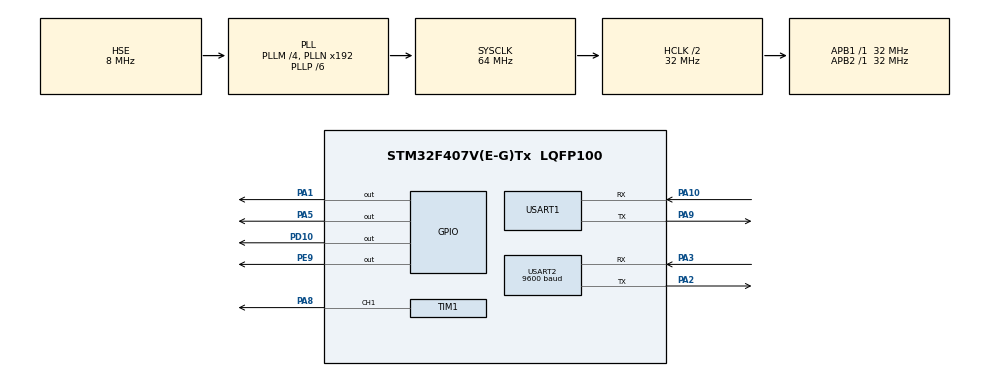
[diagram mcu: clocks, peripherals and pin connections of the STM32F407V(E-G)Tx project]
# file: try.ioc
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Dma.Request0=USART2_RX
Dma.USART2_RX.0.Direction=DMA_PERIPH_TO_MEMORY
Dma.USART2_RX.0.FIFOMode=DMA_FIFOMODE_DISABLE
Dma.USART2_RX.0.Instance=DMA1_Stream5
Dma.USART2_RX.0.MemDataAlignment=DMA_MDATAALIGN_BYTE
Dma.USART2_RX.0.MemInc=DMA_MINC_ENABLE
Dma.USART2_RX.0.Mode=DMA_NORMAL
Dma.USART2_RX.0.PeriphDataAlignment=DMA_PDATAALIGN_BYTE
Dma.USART2_RX.0.PeriphInc=DMA_PINC_DISABLE
Dma.USART2_RX.0.Priority=DMA_PRIORITY_LOW
Mcu.Family=STM32F4
Mcu.Name=STM32F407V(E-G)Tx
Mcu.Package=LQFP100
NVIC.DMA1_Stream5_IRQn=true\:0\:0\:false\:false\:true\:false\:true\:true
NVIC.PriorityGroup=NVIC_PRIORITYGROUP_4
NVIC.TIM2_IRQn=true\:0\:0\:false\:false\:true\:true\:true\:true
NVIC.USART2_IRQn=true\:0\:0\:false\:false\:true\:true\:true\:true
PA1.Signal=GPIO_Output
PA10.Mode=Asynchronous
PA10.Signal=USART1_RX
PA13.Mode=Serial_Wire
PA13.Signal=SYS_JTMS-SWDIO
PA14.Mode=Serial_Wire
PA14.Signal=SYS_JTCK-SWCLK
PA2.Mode=Asynchronous
PA2.Signal=USART2_TX
PA3.Mode=Asynchronous
PA3.Signal=USART2_RX
PA5.Signal=GPIO_Output
PA8.Signal=S_TIM1_CH1
PA9.Mode=Asynchronous
PA9.Signal=USART1_TX
PD10.Signal=GPIO_Output
PE9.Signal=GPIO_Output
PH0-OSC_IN.Mode=HSE-External-Oscillator
PH0-OSC_IN.Signal=RCC_OSC_IN
PH1-OSC_OUT.Mode=HSE-External-Oscillator
PH1-OSC_OUT.Signal=RCC_OSC_OUT
ProjectManager.HeapSize=0x200
ProjectManager.StackSize=0x400
ProjectManager.TargetToolchain=STM32CubeIDE
RCC.48MHZClocksFreq_Value=96000000
RCC.AHBCLKDivider=RCC_SYSCLK_DIV2
RCC.AHBFreq_Value=32000000
RCC.APB1Freq_Value=32000000
RCC.APB1TimFreq_Value=32000000
RCC.APB2Freq_Value=32000000
RCC.APB2TimFreq_Value=32000000
RCC.CortexFreq_Value=32000000
RCC.HCLKFreq_Value=32000000
RCC.HSE_VALUE=8000000
RCC.HSI_VALUE=16000000
RCC.LSE_VALUE=32768
RCC.PLLM=4
RCC.PLLP=RCC_PLLP_DIV6
RCC.PLLSourceVirtual=RCC_PLLSOURCE_HSE
RCC.SYSCLKFreq_VALUE=64000000
RCC.SYSCLKSource=RCC_SYSCLKSOURCE_PLLCLK
RCC.VCOOutputFreq_Value=384000000
SH.S_TIM1_CH1.0=TIM1_CH1,PWM Generation1 CH1
TIM1.Channel-PWM\ Generation1\ CH1=TIM_CHANNEL_1
TIM1.Period=20000-1
TIM1.Prescaler=32-1
TIM2.Period=10-1
TIM2.Prescaler=32-1
USART1.VirtualMode=VM_ASYNC
USART2.BaudRate=9600
USART2.VirtualMode=VM_ASYNC
VP_TIM1_VS_ClockSourceINT.Mode=Internal
VP_TIM2_VS_ClockSourceINT.Mode=Internal
board=custom

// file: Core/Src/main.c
/* USER CODE BEGIN Header */
/**
  ******************************************************************************
  * @file           : main.c
  * @brief          : Main program body
  ******************************************************************************
  * @attention
  *
  * Copyright (c) 2024 STMicroelectronics.
  * All rights reserved.
  *
  * This software is licensed under terms that can be found in the LICENSE file
  * in the root directory of this software component.
  * If no LICENSE file comes with this software, it is provided AS-IS.
  *
  ******************************************************************************
  */
/* USER CODE END Header */
#include "main.h"
#include "dma.h"
#include "tim.h"
#include "usart.h"
#include "gpio.h"
#include "delay.h"

/* USER CODE BEGIN PV */
int times=0;
uint8_t u2_RX_Buf[MAX_LEN];
uint8_t u2_RX_ReceiveBit;
int rx_len = 0;
/* USER CODE END PV */

void SystemClock_Config(void);

/* USER CODE BEGIN 0 */
void HAL_TIM_PeriodElapsedCallback(TIM_HandleTypeDef *htim){
 if(htim->Instance==TIM2)
 {
	 //0.1ms
	 if(times<42001)
	 {
		 times++;
		 if(times%5==0&&times>10000)
			 HAL_GPIO_TogglePin(GPIOE,GPIO_PIN_9);
	 }

 }
}
/* USER CODE END 0 */

int main(void)
{

  /* MCU Configuration--------------------------------------------------------*/

  /* Reset of all peripherals, Initializes the Flash interface and the Systick. */
  HAL_Init();

  /* Configure the system clock */
  SystemClock_Config();

  /* Initialize all configured peripherals */
  MX_GPIO_Init();
  MX_DMA_Init();
  MX_TIM2_Init();
  MX_TIM1_Init();
  MX_USART1_UART_Init();
  MX_USART2_UART_Init();
  delay_init();
  /* USER CODE BEGIN 2 */
  HAL_TIM_Base_Start_IT(&htim2);
  HAL_GPIO_WritePin(GPIOA, GPIO_PIN_1, GPIO_PIN_SET);
  HAL_GPIO_WritePin(GPIOA, GPIO_PIN_5, GPIO_PIN_SET);
  HAL_TIM_PWM_Start(&htim1, TIM_CHANNEL_1);
  __HAL_TIM_SetCompare(&htim1, TIM_CHANNEL_1,1500);
  HAL_UART_Receive_DMA(&huart2, u2_RX_Buf, RX_BUF_LEN);
  /* USER CODE END 2 */

  /* Infinite loop */
  while (1)
  {

    /* USER CODE BEGIN 3 */
//    HAL_GPIO_TogglePin(GPIOA, GPIO_PIN_1);
//    HAL_Delay(3000);
	 // u1_printf("hello");
  }
  /* USER CODE END 3 */
}

void SystemClock_Config(void)
{
  RCC_OscInitTypeDef RCC_OscInitStruct = {0};
  RCC_ClkInitTypeDef RCC_ClkInitStruct = {0};

  /** Configure the main internal regulator output voltage
  */
  __HAL_RCC_PWR_CLK_ENABLE();
  __HAL_PWR_VOLTAGESCALING_CONFIG(PWR_REGULATOR_VOLTAGE_SCALE1);

  /** Initializes the RCC Oscillators according to the specified parameters
  * in the RCC_OscInitTypeDef structure.
  */
  RCC_OscInitStruct.OscillatorType = RCC_OSCILLATORTYPE_HSE;
  RCC_OscInitStruct.HSEState = RCC_HSE_ON;
  RCC_OscInitStruct.PLL.PLLState = RCC_PLL_ON;
  RCC_OscInitStruct.PLL.PLLSource = RCC_PLLSOURCE_HSE;
  RCC_OscInitStruct.PLL.PLLM = 4;
  RCC_OscInitStruct.PLL.PLLN = 192;
  RCC_OscInitStruct.PLL.PLLP = RCC_PLLP_DIV6;
  RCC_OscInitStruct.PLL.PLLQ = 4;
  if (HAL_RCC_OscConfig(&RCC_OscInitStruct) != HAL_OK)
  {
    Error_Handler();
  }

  /** Initializes the CPU, AHB and APB buses clocks
  */
  RCC_ClkInitStruct.ClockType = RCC_CLOCKTYPE_HCLK|RCC_CLOCKTYPE_SYSCLK
                              |RCC_CLOCKTYPE_PCLK1|RCC_CLOCKTYPE_PCLK2;
  RCC_ClkInitStruct.SYSCLKSource = RCC_SYSCLKSOURCE_PLLCLK;
  RCC_ClkInitStruct.AHBCLKDivider = RCC_SYSCLK_DIV2;
  RCC_ClkInitStruct.APB1CLKDivider = RCC_HCLK_DIV1;
  RCC_ClkInitStruct.APB2CLKDivider = RCC_HCLK_DIV1;

  if (HAL_RCC_ClockConfig(&RCC_ClkInitStruct, FLASH_LATENCY_1) != HAL_OK)
  {
    Error_Handler();
  }
}

void Error_Handler(void)
{
  __disable_irq();
  while (1)
  {
  }
}
